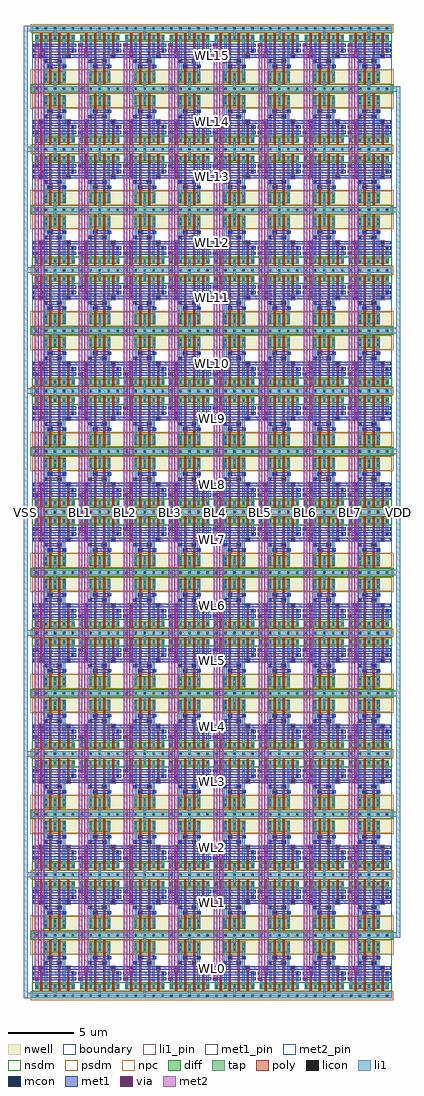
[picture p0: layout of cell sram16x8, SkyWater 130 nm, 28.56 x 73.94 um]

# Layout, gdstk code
import gdstk
lib = gdstk.Library(unit=1e-6, precision=1e-09)
def R(c, l, rs):  # rectangles x0, y0, x1, y1
    for r in rs: c.add(gdstk.rectangle(r[:2], r[2:], *l))
def A(c, l, x, y, w, h, nx, ny, dx, dy):  # array of equal rectangles
    R(c, l, [(x+i*dx, y+j*dy, x+i*dx+w, y+j*dy+h) for i in range(nx) for j in range(ny)])
nwell = (64, 20)
diff = (65, 20)
tap = (65, 44)
poly = (66, 20)
licon = (66, 44)
li1_pin = (67, 16)
li1 = (67, 20)
mcon = (67, 44)
met1_pin = (68, 16)
met1 = (68, 20)
via = (68, 44)
met2_pin = (69, 16)
met2 = (69, 20)
nsdm = (93, 44)
psdm = (94, 20)
npc = (95, 20)
boundary = (235, 4)

sram6t = lib.new_cell('sram6t')
R(sram6t, nwell, [(-0.18,3.085,3.58,4.965)])
R(sram6t, diff, [(0.215,0.475,3.185,0.895), (0.895,3.265,2.505,4.105)])
R(sram6t, tap, [(0,-0.205,3.4,0.205), (0,4.375,3.4,4.785)])
A(sram6t, poly, 0.605, 0.345, 0.15, 0.68, 4, 1, 0.68, 0)
R(sram6t, poly, [(0.605,1.025,0.755,2.08), (1.285,1.025,1.435,3.135), (1.965,1.025,2.115,3.135), (2.645,1.025,2.795,2.08), (0.545,1.915,0.815,2.245), (2.585,1.915,2.855,2.245), (1.905,2.315,2.175,2.645), (1.225,2.715,1.495,3.045), (1.285,3.135,1.435,4.235), (1.965,3.135,2.115,4.235)])
A(sram6t, licon, 0.255, -0.085, 0.17, 0.17, 5, 2, 0.68, 0.685)
A(sram6t, licon, 0.935, 3.43, 0.17, 0.17, 3, 2, 0.68, 0.34)
A(sram6t, licon, 0.255, 4.495, 0.17, 0.17, 5, 1, 0.68, 0)
R(sram6t, licon, [(0.595,1.995,0.765,2.165), (2.635,1.995,2.805,2.165), (1.955,2.395,2.125,2.565), (1.275,2.795,1.445,2.965)])
R(sram6t, li1_pin, [(0,-0.205,3.4,0.205), (0,4.375,3.4,4.785)])
A(sram6t, li1, 0.255, 0.52, 0.17, 0.33, 5, 1, 0.68, 0)
A(sram6t, li1, 0.935, 3.35, 0.17, 0.67, 3, 1, 0.68, 0)
R(sram6t, li1, [(0,-0.205,3.4,0.205), (1.615,0,1.785,0.52), (0.255,0.85,0.425,1.28), (0.935,0.85,1.105,2.48), (2.295,0.85,2.465,2.88), (2.975,0.85,3.145,1.68), (0.255,1.115,0.425,1.445), (2.975,1.515,3.145,1.845), (0.595,1.915,0.765,2.245), (2.635,1.915,2.805,2.245), (0.935,2.315,1.105,2.645), (0.935,2.315,1.105,2.645), (1.955,2.315,2.125,2.645), (0.935,2.48,1.105,3.35), (1.275,2.715,1.445,3.045), (2.295,2.715,2.465,3.045), (2.295,2.715,2.465,3.045), (2.295,2.88,2.465,3.35), (1.615,4.02,1.785,4.58), (0,4.375,3.4,4.785)])
R(sram6t, mcon, [(0.255,1.195,0.425,1.365), (2.975,1.595,3.145,1.765), (0.595,1.995,0.765,2.165), (2.635,1.995,2.805,2.165), (0.935,2.395,1.105,2.565), (0.935,2.395,1.105,2.565), (1.955,2.395,2.125,2.565), (1.275,2.795,1.445,2.965), (2.295,2.795,2.465,2.965), (2.295,2.795,2.465,2.965)])
A(sram6t, met1_pin, 0.07, 1.15, 3.26, 0.26, 1, 3, 0, 0.4)
A(sram6t, met1, 0.07, 1.15, 3.26, 0.26, 1, 3, 0, 0.4)
R(sram6t, met1, [(0.155,1.165,0.525,1.395), (2.875,1.565,3.245,1.795), (0.495,1.965,0.865,2.195), (2.535,1.965,2.905,2.195), (1.02,2.35,2.04,2.61), (0.835,2.365,1.205,2.595), (0.835,2.365,1.205,2.595), (1.855,2.365,2.225,2.595), (1.36,2.75,2.38,3.01), (1.175,2.765,1.545,2.995), (2.195,2.765,2.565,2.995), (2.195,2.765,2.565,2.995)])
R(sram6t, nsdm, [(0,0.35,3.4,1.02), (-0.125,4.25,3.525,4.91)])
R(sram6t, psdm, [(-0.125,-0.33,3.525,0.33), (0,3.14,3.4,4.23)])
R(sram6t, npc, [(0.495,1.895,0.865,2.265), (2.535,1.895,2.905,2.265), (1.855,2.295,2.225,2.665), (1.175,2.695,1.545,3.065)])
R(sram6t, boundary, [(0,0,3.4,4.58)])
sram6t.add(gdstk.Label('VSS', (1.7,0), layer=67, texttype=16))
sram6t.add(gdstk.Label('VDD', (1.7,4.58), layer=67, texttype=16))
sram6t.add(gdstk.Label('VSS', (1.7,0), layer=67, texttype=5))
sram6t.add(gdstk.Label('VDD', (1.7,4.58), layer=67, texttype=5))
sram6t.add(gdstk.Label('BL', (1.7,1.28), layer=68, texttype=16))
sram6t.add(gdstk.Label('BLB', (1.7,1.68), layer=68, texttype=16))
sram6t.add(gdstk.Label('WL', (1.7,2.08), layer=68, texttype=16))
sram6t.add(gdstk.Label('BL', (1.7,1.28), layer=68, texttype=5))
sram6t.add(gdstk.Label('BLB', (1.7,1.68), layer=68, texttype=5))
sram6t.add(gdstk.Label('WL', (1.7,2.08), layer=68, texttype=5))

sram16x8 = lib.new_cell('sram16x8')
R(sram16x8, li1_pin, [(-0.68,-0.205,-0.34,73.485), (27.54,4.375,27.88,68.905)])
A(sram16x8, li1, -0.68, -0.205, 0.68, 0.41, 1, 9, 0, 9.16)
A(sram16x8, li1, 27.2, 4.375, 0.68, 0.41, 1, 8, 0, 9.16)
R(sram16x8, li1, [(-0.68,-0.205,-0.34,73.485), (27.54,4.375,27.88,68.905)])
R(sram16x8, met1_pin, [(0.07,1.95,27.13,2.21), (0.07,6.95,27.13,7.21), (0.07,11.11,27.13,11.37), (0.07,16.11,27.13,16.37), (0.07,20.27,27.13,20.53), (0.07,25.27,27.13,25.53), (0.07,29.43,27.13,29.69), (0.07,34.43,27.13,34.69), (0.07,38.59,27.13,38.85), (0.07,43.59,27.13,43.85), (0.07,47.75,27.13,48.01), (0.07,52.75,27.13,53.01), (0.07,56.91,27.13,57.17), (0.07,61.91,27.13,62.17), (0.07,66.07,27.13,66.33), (0.07,71.07,27.13,71.33)])
A(sram16x8, met1, 3.47, 1.15, 0.32, 0.26, 7, 2, 3.41, 6.6)
A(sram16x8, met1, 3.91, 1.55, 0.32, 0.26, 7, 2, 3.41, 5.8)
A(sram16x8, met1, 3.33, 1.95, 0.14, 0.26, 7, 2, 3.4, 5)
A(sram16x8, met1, 3.47, 10.31, 0.32, 0.26, 7, 2, 3.41, 6.6)
A(sram16x8, met1, 3.91, 10.71, 0.32, 0.26, 7, 2, 3.41, 5.8)
A(sram16x8, met1, 3.33, 11.11, 0.14, 0.26, 7, 2, 3.4, 5)
A(sram16x8, met1, 3.47, 19.47, 0.32, 0.26, 7, 2, 3.41, 6.6)
A(sram16x8, met1, 3.91, 19.87, 0.32, 0.26, 7, 2, 3.41, 5.8)
A(sram16x8, met1, 3.33, 20.27, 0.14, 0.26, 7, 2, 3.4, 5)
A(sram16x8, met1, 3.47, 28.63, 0.32, 0.26, 7, 2, 3.41, 6.6)
A(sram16x8, met1, 3.91, 29.03, 0.32, 0.26, 7, 2, 3.41, 5.8)
A(sram16x8, met1, 3.33, 29.43, 0.14, 0.26, 7, 2, 3.4, 5)
A(sram16x8, met1, 3.47, 37.79, 0.32, 0.26, 7, 2, 3.41, 6.6)
A(sram16x8, met1, 3.91, 38.19, 0.32, 0.26, 7, 2, 3.41, 5.8)
A(sram16x8, met1, 3.33, 38.59, 0.14, 0.26, 7, 2, 3.4, 5)
A(sram16x8, met1, 3.47, 46.95, 0.32, 0.26, 7, 2, 3.41, 6.6)
A(sram16x8, met1, 3.91, 47.35, 0.32, 0.26, 7, 2, 3.41, 5.8)
A(sram16x8, met1, 3.33, 47.75, 0.14, 0.26, 7, 2, 3.4, 5)
A(sram16x8, met1, 3.47, 56.11, 0.32, 0.26, 7, 2, 3.41, 6.6)
A(sram16x8, met1, 3.91, 56.51, 0.32, 0.26, 7, 2, 3.41, 5.8)
A(sram16x8, met1, 3.33, 56.91, 0.14, 0.26, 7, 2, 3.4, 5)
A(sram16x8, met1, 3.47, 65.27, 0.32, 0.26, 7, 2, 3.41, 6.6)
A(sram16x8, met1, 3.91, 65.67, 0.32, 0.26, 7, 2, 3.41, 5.8)
A(sram16x8, met1, 3.33, 66.07, 0.14, 0.26, 7, 2, 3.4, 5)
R(sram16x8, met1, [(0.17,1.15,0.49,1.41), (0.61,1.55,0.93,1.81), (0.61,7.35,0.93,7.61), (0.17,7.75,0.49,8.01), (0.17,10.31,0.49,10.57), (0.61,10.71,0.93,10.97), (0.61,16.51,0.93,16.77), (0.17,16.91,0.49,17.17), (0.17,19.47,0.49,19.73), (0.61,19.87,0.93,20.13), (0.61,25.67,0.93,25.93), (0.17,26.07,0.49,26.33), (0.17,28.63,0.49,28.89), (0.61,29.03,0.93,29.29), (0.61,34.83,0.93,35.09), (0.17,35.23,0.49,35.49), (0.17,37.79,0.49,38.05), (0.61,38.19,0.93,38.45), (0.61,43.99,0.93,44.25), (0.17,44.39,0.49,44.65), (0.17,46.95,0.49,47.21), (0.61,47.35,0.93,47.61), (0.61,53.15,0.93,53.41), (0.17,53.55,0.49,53.81), (0.17,56.11,0.49,56.37), (0.61,56.51,0.93,56.77), (0.61,62.31,0.93,62.57), (0.17,62.71,0.49,62.97), (0.17,65.27,0.49,65.53), (0.61,65.67,0.93,65.93), (0.61,71.47,0.93,71.73), (0.17,71.87,0.49,72.13)])
A(sram16x8, via, 3.555, 1.205, 0.15, 0.15, 7, 2, 3.41, 6.6)
A(sram16x8, via, 3.995, 1.605, 0.15, 0.15, 7, 2, 3.41, 5.8)
A(sram16x8, via, 3.555, 10.365, 0.15, 0.15, 7, 2, 3.41, 6.6)
A(sram16x8, via, 3.995, 10.765, 0.15, 0.15, 7, 2, 3.41, 5.8)
A(sram16x8, via, 3.555, 19.525, 0.15, 0.15, 7, 2, 3.41, 6.6)
A(sram16x8, via, 3.995, 19.925, 0.15, 0.15, 7, 2, 3.41, 5.8)
A(sram16x8, via, 3.555, 28.685, 0.15, 0.15, 7, 2, 3.41, 6.6)
A(sram16x8, via, 3.995, 29.085, 0.15, 0.15, 7, 2, 3.41, 5.8)
A(sram16x8, via, 3.555, 37.845, 0.15, 0.15, 7, 2, 3.41, 6.6)
A(sram16x8, via, 3.995, 38.245, 0.15, 0.15, 7, 2, 3.41, 5.8)
A(sram16x8, via, 3.555, 47.005, 0.15, 0.15, 7, 2, 3.41, 6.6)
A(sram16x8, via, 3.995, 47.405, 0.15, 0.15, 7, 2, 3.41, 5.8)
A(sram16x8, via, 3.555, 56.165, 0.15, 0.15, 7, 2, 3.41, 6.6)
A(sram16x8, via, 3.995, 56.565, 0.15, 0.15, 7, 2, 3.41, 5.8)
A(sram16x8, via, 3.555, 65.325, 0.15, 0.15, 7, 2, 3.41, 6.6)
A(sram16x8, via, 3.995, 65.725, 0.15, 0.15, 7, 2, 3.41, 5.8)
R(sram16x8, via, [(0.255,1.205,0.405,1.355), (0.695,1.605,0.845,1.755), (0.695,7.405,0.845,7.555), (0.255,7.805,0.405,7.955), (0.255,10.365,0.405,10.515), (0.695,10.765,0.845,10.915), (0.695,16.565,0.845,16.715), (0.255,16.965,0.405,17.115), (0.255,19.525,0.405,19.675), (0.695,19.925,0.845,20.075), (0.695,25.725,0.845,25.875), (0.255,26.125,0.405,26.275), (0.255,28.685,0.405,28.835), (0.695,29.085,0.845,29.235), (0.695,34.885,0.845,35.035), (0.255,35.285,0.405,35.435), (0.255,37.845,0.405,37.995), (0.695,38.245,0.845,38.395), (0.695,44.045,0.845,44.195), (0.255,44.445,0.405,44.595), (0.255,47.005,0.405,47.155), (0.695,47.405,0.845,47.555), (0.695,53.205,0.845,53.355), (0.255,53.605,0.405,53.755), (0.255,56.165,0.405,56.315), (0.695,56.565,0.845,56.715), (0.695,62.365,0.845,62.515), (0.255,62.765,0.405,62.915), (0.255,65.325,0.405,65.475), (0.695,65.725,0.845,65.875), (0.695,71.525,0.845,71.675), (0.255,71.925,0.405,72.075)])
A(sram16x8, met2_pin, 3.49, 1.28, 0.28, 70.72, 7, 1, 3.41, 0)
A(sram16x8, met2_pin, 3.93, 1.68, 0.28, 69.92, 7, 1, 3.41, 0)
R(sram16x8, met2_pin, [(0.19,1.28,0.47,72), (0.63,1.68,0.91,71.6)])
A(sram16x8, met2, 3.5, 1.12, 0.26, 0.32, 7, 2, 3.41, 6.6)
A(sram16x8, met2, 3.49, 1.28, 0.28, 70.72, 7, 1, 3.41, 0)
A(sram16x8, met2, 3.94, 1.52, 0.26, 0.32, 7, 2, 3.41, 5.8)
A(sram16x8, met2, 3.93, 1.68, 0.28, 69.92, 7, 1, 3.41, 0)
A(sram16x8, met2, 3.5, 10.28, 0.26, 0.32, 7, 2, 3.41, 6.6)
A(sram16x8, met2, 3.94, 10.68, 0.26, 0.32, 7, 2, 3.41, 5.8)
A(sram16x8, met2, 3.5, 19.44, 0.26, 0.32, 7, 2, 3.41, 6.6)
A(sram16x8, met2, 3.94, 19.84, 0.26, 0.32, 7, 2, 3.41, 5.8)
A(sram16x8, met2, 3.5, 28.6, 0.26, 0.32, 7, 2, 3.41, 6.6)
A(sram16x8, met2, 3.94, 29, 0.26, 0.32, 7, 2, 3.41, 5.8)
A(sram16x8, met2, 3.5, 37.76, 0.26, 0.32, 7, 2, 3.41, 6.6)
A(sram16x8, met2, 3.94, 38.16, 0.26, 0.32, 7, 2, 3.41, 5.8)
A(sram16x8, met2, 3.5, 46.92, 0.26, 0.32, 7, 2, 3.41, 6.6)
A(sram16x8, met2, 3.94, 47.32, 0.26, 0.32, 7, 2, 3.41, 5.8)
A(sram16x8, met2, 3.5, 56.08, 0.26, 0.32, 7, 2, 3.41, 6.6)
A(sram16x8, met2, 3.94, 56.48, 0.26, 0.32, 7, 2, 3.41, 5.8)
A(sram16x8, met2, 3.5, 65.24, 0.26, 0.32, 7, 2, 3.41, 6.6)
A(sram16x8, met2, 3.94, 65.64, 0.26, 0.32, 7, 2, 3.41, 5.8)
R(sram16x8, met2, [(0.2,1.12,0.46,1.44), (0.19,1.28,0.47,72), (0.64,1.52,0.9,1.84), (0.63,1.68,0.91,71.6), (0.64,7.32,0.9,7.64), (0.2,7.72,0.46,8.04), (0.2,10.28,0.46,10.6), (0.64,10.68,0.9,11), (0.64,16.48,0.9,16.8), (0.2,16.88,0.46,17.2), (0.2,19.44,0.46,19.76), (0.64,19.84,0.9,20.16), (0.64,25.64,0.9,25.96), (0.2,26.04,0.46,26.36), (0.2,28.6,0.46,28.92), (0.64,29,0.9,29.32), (0.64,34.8,0.9,35.12), (0.2,35.2,0.46,35.52), (0.2,37.76,0.46,38.08), (0.64,38.16,0.9,38.48), (0.64,43.96,0.9,44.28), (0.2,44.36,0.46,44.68), (0.2,46.92,0.46,47.24), (0.64,47.32,0.9,47.64), (0.64,53.12,0.9,53.44), (0.2,53.52,0.46,53.84), (0.2,56.08,0.46,56.4), (0.64,56.48,0.9,56.8), (0.64,62.28,0.9,62.6), (0.2,62.68,0.46,63), (0.2,65.24,0.46,65.56), (0.64,65.64,0.9,65.96), (0.64,71.44,0.9,71.76), (0.2,71.84,0.46,72.16)])
sram16x8.add(gdstk.Reference(sram6t, (10.2,0)))
sram16x8.add(gdstk.Reference(sram6t, (13.6,0)))
sram16x8.add(gdstk.Reference(sram6t, (10.2,9.16), x_reflection=True))
sram16x8.add(gdstk.Reference(sram6t, (13.6,9.16), x_reflection=True))
sram16x8.add(gdstk.Reference(sram6t, (10.2,9.16)))
sram16x8.add(gdstk.Reference(sram6t, (13.6,9.16)))
sram16x8.add(gdstk.Reference(sram6t, (10.2,18.32), x_reflection=True))
sram16x8.add(gdstk.Reference(sram6t, (13.6,18.32), x_reflection=True))
sram16x8.add(gdstk.Reference(sram6t, (10.2,18.32)))
sram16x8.add(gdstk.Reference(sram6t, (13.6,18.32)))
sram16x8.add(gdstk.Reference(sram6t, (10.2,27.48), x_reflection=True))
sram16x8.add(gdstk.Reference(sram6t, (13.6,27.48), x_reflection=True))
sram16x8.add(gdstk.Reference(sram6t, (10.2,27.48)))
sram16x8.add(gdstk.Reference(sram6t, (13.6,27.48)))
sram16x8.add(gdstk.Reference(sram6t, (0,36.64), x_reflection=True))
sram16x8.add(gdstk.Reference(sram6t, (3.4,36.64), x_reflection=True))
sram16x8.add(gdstk.Reference(sram6t, (6.8,36.64), x_reflection=True))
sram16x8.add(gdstk.Reference(sram6t, (10.2,36.64), x_reflection=True))
sram16x8.add(gdstk.Reference(sram6t, (13.6,36.64), x_reflection=True))
sram16x8.add(gdstk.Reference(sram6t, (17,36.64), x_reflection=True))
sram16x8.add(gdstk.Reference(sram6t, (20.4,36.64), x_reflection=True))
sram16x8.add(gdstk.Reference(sram6t, (23.8,36.64), x_reflection=True))
sram16x8.add(gdstk.Reference(sram6t, (0,36.64)))
sram16x8.add(gdstk.Reference(sram6t, (3.4,36.64)))
sram16x8.add(gdstk.Reference(sram6t, (6.8,36.64)))
sram16x8.add(gdstk.Reference(sram6t, (10.2,36.64)))
sram16x8.add(gdstk.Reference(sram6t, (13.6,36.64)))
sram16x8.add(gdstk.Reference(sram6t, (17,36.64)))
sram16x8.add(gdstk.Reference(sram6t, (20.4,36.64)))
sram16x8.add(gdstk.Reference(sram6t, (23.8,36.64)))
sram16x8.add(gdstk.Reference(sram6t, (10.2,45.8), x_reflection=True))
sram16x8.add(gdstk.Reference(sram6t, (13.6,45.8), x_reflection=True))
sram16x8.add(gdstk.Reference(sram6t, (10.2,45.8)))
sram16x8.add(gdstk.Reference(sram6t, (13.6,45.8)))
sram16x8.add(gdstk.Reference(sram6t, (10.2,54.96), x_reflection=True))
sram16x8.add(gdstk.Reference(sram6t, (13.6,54.96), x_reflection=True))
sram16x8.add(gdstk.Reference(sram6t, (10.2,54.96)))
sram16x8.add(gdstk.Reference(sram6t, (13.6,54.96)))
sram16x8.add(gdstk.Reference(sram6t, (10.2,64.12), x_reflection=True))
sram16x8.add(gdstk.Reference(sram6t, (13.6,64.12), x_reflection=True))
sram16x8.add(gdstk.Reference(sram6t, (10.2,64.12)))
sram16x8.add(gdstk.Reference(sram6t, (13.6,64.12)))
sram16x8.add(gdstk.Reference(sram6t, (10.2,73.28), x_reflection=True))
sram16x8.add(gdstk.Reference(sram6t, (13.6,73.28), x_reflection=True))
sram16x8.add(gdstk.Reference(sram6t, (23.8,54.96), x_reflection=True))
sram16x8.add(gdstk.Reference(sram6t, (20.4,45.8), x_reflection=True))
sram16x8.add(gdstk.Reference(sram6t, (17,45.8)))
sram16x8.add(gdstk.Reference(sram6t, (17,54.96)))
sram16x8.add(gdstk.Reference(sram6t, (20.4,54.96)))
sram16x8.add(gdstk.Reference(sram6t, (23.8,54.96)))
sram16x8.add(gdstk.Reference(sram6t, (20.4,45.8)))
sram16x8.add(gdstk.Reference(sram6t, (23.8,45.8)))
sram16x8.add(gdstk.Reference(sram6t, (17,64.12), x_reflection=True))
sram16x8.add(gdstk.Reference(sram6t, (20.4,64.12), x_reflection=True))
sram16x8.add(gdstk.Reference(sram6t, (23.8,64.12), x_reflection=True))
sram16x8.add(gdstk.Reference(sram6t, (23.8,45.8), x_reflection=True))
sram16x8.add(gdstk.Reference(sram6t, (17,45.8), x_reflection=True))
sram16x8.add(gdstk.Reference(sram6t, (17,64.12)))
sram16x8.add(gdstk.Reference(sram6t, (20.4,64.12)))
sram16x8.add(gdstk.Reference(sram6t, (23.8,64.12)))
sram16x8.add(gdstk.Reference(sram6t, (17,54.96), x_reflection=True))
sram16x8.add(gdstk.Reference(sram6t, (20.4,54.96), x_reflection=True))
sram16x8.add(gdstk.Reference(sram6t, (17,73.28), x_reflection=True))
sram16x8.add(gdstk.Reference(sram6t, (20.4,73.28), x_reflection=True))
sram16x8.add(gdstk.Reference(sram6t, (23.8,73.28), x_reflection=True))
sram16x8.add(gdstk.Reference(sram6t, (6.8,45.8), x_reflection=True))
sram16x8.add(gdstk.Reference(sram6t, (0,45.8), x_reflection=True))
sram16x8.add(gdstk.Reference(sram6t, (3.4,45.8), x_reflection=True))
sram16x8.add(gdstk.Reference(sram6t, (0,45.8)))
sram16x8.add(gdstk.Reference(sram6t, (0,54.96)))
sram16x8.add(gdstk.Reference(sram6t, (0,64.12)))
sram16x8.add(gdstk.Reference(sram6t, (3.4,64.12)))
sram16x8.add(gdstk.Reference(sram6t, (6.8,64.12)))
sram16x8.add(gdstk.Reference(sram6t, (3.4,54.96)))
sram16x8.add(gdstk.Reference(sram6t, (6.8,54.96)))
sram16x8.add(gdstk.Reference(sram6t, (3.4,45.8)))
sram16x8.add(gdstk.Reference(sram6t, (0,54.96), x_reflection=True))
sram16x8.add(gdstk.Reference(sram6t, (3.4,54.96), x_reflection=True))
sram16x8.add(gdstk.Reference(sram6t, (0,73.28), x_reflection=True))
sram16x8.add(gdstk.Reference(sram6t, (3.4,73.28), x_reflection=True))
sram16x8.add(gdstk.Reference(sram6t, (6.8,73.28), x_reflection=True))
sram16x8.add(gdstk.Reference(sram6t, (6.8,54.96), x_reflection=True))
sram16x8.add(gdstk.Reference(sram6t, (6.8,45.8)))
sram16x8.add(gdstk.Reference(sram6t, (0,64.12), x_reflection=True))
sram16x8.add(gdstk.Reference(sram6t, (3.4,64.12), x_reflection=True))
sram16x8.add(gdstk.Reference(sram6t, (6.8,64.12), x_reflection=True))
sram16x8.add(gdstk.Reference(sram6t, (6.8,0)))
sram16x8.add(gdstk.Reference(sram6t, (0,0)))
sram16x8.add(gdstk.Reference(sram6t, (0,27.48), x_reflection=True))
sram16x8.add(gdstk.Reference(sram6t, (3.4,27.48), x_reflection=True))
sram16x8.add(gdstk.Reference(sram6t, (6.8,27.48), x_reflection=True))
sram16x8.add(gdstk.Reference(sram6t, (0,9.16)))
sram16x8.add(gdstk.Reference(sram6t, (3.4,9.16)))
sram16x8.add(gdstk.Reference(sram6t, (0,27.48)))
sram16x8.add(gdstk.Reference(sram6t, (3.4,27.48)))
sram16x8.add(gdstk.Reference(sram6t, (6.8,27.48)))
sram16x8.add(gdstk.Reference(sram6t, (6.8,9.16)))
sram16x8.add(gdstk.Reference(sram6t, (3.4,0)))
sram16x8.add(gdstk.Reference(sram6t, (0,9.16), x_reflection=True))
sram16x8.add(gdstk.Reference(sram6t, (0,18.32), x_reflection=True))
sram16x8.add(gdstk.Reference(sram6t, (3.4,18.32), x_reflection=True))
sram16x8.add(gdstk.Reference(sram6t, (6.8,18.32), x_reflection=True))
sram16x8.add(gdstk.Reference(sram6t, (3.4,9.16), x_reflection=True))
sram16x8.add(gdstk.Reference(sram6t, (6.8,9.16), x_reflection=True))
sram16x8.add(gdstk.Reference(sram6t, (0,18.32)))
sram16x8.add(gdstk.Reference(sram6t, (3.4,18.32)))
sram16x8.add(gdstk.Reference(sram6t, (6.8,18.32)))
sram16x8.add(gdstk.Reference(sram6t, (17,18.32), x_reflection=True))
sram16x8.add(gdstk.Reference(sram6t, (17,27.48), x_reflection=True))
sram16x8.add(gdstk.Reference(sram6t, (20.4,27.48), x_reflection=True))
sram16x8.add(gdstk.Reference(sram6t, (23.8,27.48), x_reflection=True))
sram16x8.add(gdstk.Reference(sram6t, (20.4,18.32), x_reflection=True))
sram16x8.add(gdstk.Reference(sram6t, (23.8,18.32), x_reflection=True))
sram16x8.add(gdstk.Reference(sram6t, (20.4,9.16), x_reflection=True))
sram16x8.add(gdstk.Reference(sram6t, (17,9.16)))
sram16x8.add(gdstk.Reference(sram6t, (20.4,9.16)))
sram16x8.add(gdstk.Reference(sram6t, (17,27.48)))
sram16x8.add(gdstk.Reference(sram6t, (20.4,27.48)))
sram16x8.add(gdstk.Reference(sram6t, (23.8,27.48)))
sram16x8.add(gdstk.Reference(sram6t, (23.8,9.16)))
sram16x8.add(gdstk.Reference(sram6t, (23.8,9.16), x_reflection=True))
sram16x8.add(gdstk.Reference(sram6t, (17,18.32)))
sram16x8.add(gdstk.Reference(sram6t, (20.4,18.32)))
sram16x8.add(gdstk.Reference(sram6t, (23.8,18.32)))
sram16x8.add(gdstk.Reference(sram6t, (23.8,0)))
sram16x8.add(gdstk.Reference(sram6t, (17,0)))
sram16x8.add(gdstk.Reference(sram6t, (20.4,0)))
sram16x8.add(gdstk.Reference(sram6t, (17,9.16), x_reflection=True))
sram16x8.add(gdstk.Label('VSS', (-0.51,36.64), layer=67, texttype=16))
sram16x8.add(gdstk.Label('VDD', (27.71,36.64), layer=67, texttype=16))
sram16x8.add(gdstk.Label('VSS', (-0.51,36.64), layer=67, texttype=5))
sram16x8.add(gdstk.Label('VDD', (27.71,36.64), layer=67, texttype=5))
sram16x8.add(gdstk.Label('BL0', (0.33,36.64), layer=69, texttype=16))
sram16x8.add(gdstk.Label('BL1', (3.63,36.64), layer=69, texttype=16))
sram16x8.add(gdstk.Label('BL2', (7.04,36.64), layer=69, texttype=16))
sram16x8.add(gdstk.Label('BL3', (10.45,36.64), layer=69, texttype=16))
sram16x8.add(gdstk.Label('BL4', (13.86,36.64), layer=69, texttype=16))
sram16x8.add(gdstk.Label('BL5', (17.27,36.64), layer=69, texttype=16))
sram16x8.add(gdstk.Label('BL6', (20.68,36.64), layer=69, texttype=16))
sram16x8.add(gdstk.Label('BL7', (24.09,36.64), layer=69, texttype=16))
sram16x8.add(gdstk.Label('BLB0', (0.77,36.64), layer=69, texttype=16))
sram16x8.add(gdstk.Label('BLB1', (4.07,36.64), layer=69, texttype=16))
sram16x8.add(gdstk.Label('BLB2', (7.48,36.64), layer=69, texttype=16))
sram16x8.add(gdstk.Label('BLB3', (10.89,36.64), layer=69, texttype=16))
sram16x8.add(gdstk.Label('BLB4', (14.3,36.64), layer=69, texttype=16))
sram16x8.add(gdstk.Label('BLB5', (17.71,36.64), layer=69, texttype=16))
sram16x8.add(gdstk.Label('BLB6', (21.12,36.64), layer=69, texttype=16))
sram16x8.add(gdstk.Label('BLB7', (24.53,36.64), layer=69, texttype=16))
sram16x8.add(gdstk.Label('BL0', (0.33,36.64), layer=69, texttype=5))
sram16x8.add(gdstk.Label('BL1', (3.63,36.64), layer=69, texttype=5))
sram16x8.add(gdstk.Label('BL2', (7.04,36.64), layer=69, texttype=5))
sram16x8.add(gdstk.Label('BL3', (10.45,36.64), layer=69, texttype=5))
sram16x8.add(gdstk.Label('BL4', (13.86,36.64), layer=69, texttype=5))
sram16x8.add(gdstk.Label('BL5', (17.27,36.64), layer=69, texttype=5))
sram16x8.add(gdstk.Label('BL6', (20.68,36.64), layer=69, texttype=5))
sram16x8.add(gdstk.Label('BL7', (24.09,36.64), layer=69, texttype=5))
sram16x8.add(gdstk.Label('BLB0', (0.77,36.64), layer=69, texttype=5))
sram16x8.add(gdstk.Label('BLB1', (4.07,36.64), layer=69, texttype=5))
sram16x8.add(gdstk.Label('BLB2', (7.48,36.64), layer=69, texttype=5))
sram16x8.add(gdstk.Label('BLB3', (10.89,36.64), layer=69, texttype=5))
sram16x8.add(gdstk.Label('BLB4', (14.3,36.64), layer=69, texttype=5))
sram16x8.add(gdstk.Label('BLB5', (17.71,36.64), layer=69, texttype=5))
sram16x8.add(gdstk.Label('BLB6', (21.12,36.64), layer=69, texttype=5))
sram16x8.add(gdstk.Label('BLB7', (24.53,36.64), layer=69, texttype=5))
sram16x8.add(gdstk.Label('WL0', (13.6,2.08), layer=68, texttype=16))
sram16x8.add(gdstk.Label('WL1', (13.6,7.08), layer=68, texttype=16))
sram16x8.add(gdstk.Label('WL10', (13.6,47.88), layer=68, texttype=16))
sram16x8.add(gdstk.Label('WL11', (13.6,52.88), layer=68, texttype=16))
sram16x8.add(gdstk.Label('WL12', (13.6,57.04), layer=68, texttype=16))
sram16x8.add(gdstk.Label('WL13', (13.6,62.04), layer=68, texttype=16))
sram16x8.add(gdstk.Label('WL14', (13.6,66.2), layer=68, texttype=16))
sram16x8.add(gdstk.Label('WL15', (13.6,71.2), layer=68, texttype=16))
sram16x8.add(gdstk.Label('WL2', (13.6,11.24), layer=68, texttype=16))
sram16x8.add(gdstk.Label('WL3', (13.6,16.24), layer=68, texttype=16))
sram16x8.add(gdstk.Label('WL4', (13.6,20.4), layer=68, texttype=16))
sram16x8.add(gdstk.Label('WL5', (13.6,25.4), layer=68, texttype=16))
sram16x8.add(gdstk.Label('WL6', (13.6,29.56), layer=68, texttype=16))
sram16x8.add(gdstk.Label('WL7', (13.6,34.56), layer=68, texttype=16))
sram16x8.add(gdstk.Label('WL8', (13.6,38.72), layer=68, texttype=16))
sram16x8.add(gdstk.Label('WL9', (13.6,43.72), layer=68, texttype=16))
sram16x8.add(gdstk.Label('WL0', (13.6,2.08), layer=68, texttype=5))
sram16x8.add(gdstk.Label('WL1', (13.6,7.08), layer=68, texttype=5))
sram16x8.add(gdstk.Label('WL10', (13.6,47.88), layer=68, texttype=5))
sram16x8.add(gdstk.Label('WL11', (13.6,52.88), layer=68, texttype=5))
sram16x8.add(gdstk.Label('WL12', (13.6,57.04), layer=68, texttype=5))
sram16x8.add(gdstk.Label('WL13', (13.6,62.04), layer=68, texttype=5))
sram16x8.add(gdstk.Label('WL14', (13.6,66.2), layer=68, texttype=5))
sram16x8.add(gdstk.Label('WL15', (13.6,71.2), layer=68, texttype=5))
sram16x8.add(gdstk.Label('WL2', (13.6,11.24), layer=68, texttype=5))
sram16x8.add(gdstk.Label('WL3', (13.6,16.24), layer=68, texttype=5))
sram16x8.add(gdstk.Label('WL4', (13.6,20.4), layer=68, texttype=5))
sram16x8.add(gdstk.Label('WL5', (13.6,25.4), layer=68, texttype=5))
sram16x8.add(gdstk.Label('WL6', (13.6,29.56), layer=68, texttype=5))
sram16x8.add(gdstk.Label('WL7', (13.6,34.56), layer=68, texttype=5))
sram16x8.add(gdstk.Label('WL8', (13.6,38.72), layer=68, texttype=5))
sram16x8.add(gdstk.Label('WL9', (13.6,43.72), layer=68, texttype=5))

lib.write_gds('sram16x8.gds')
